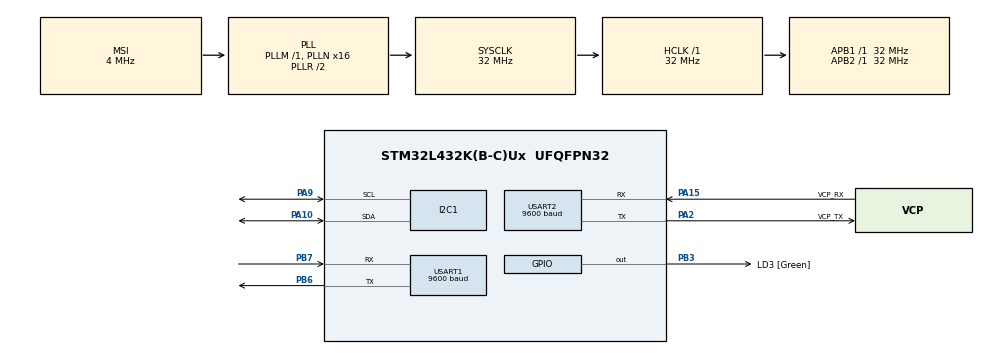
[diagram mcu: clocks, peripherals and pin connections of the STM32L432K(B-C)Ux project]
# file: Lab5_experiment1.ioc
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I2C1.Timing=0x00707CBB
Mcu.Family=STM32L4
Mcu.Name=STM32L432K(B-C)Ux
Mcu.Package=UFQFPN32
NVIC.PriorityGroup=NVIC_PRIORITYGROUP_4
NVIC.USART2_IRQn=true\:0\:0\:false\:false\:true\:true\:true\:true
PA0.GPIO_Label=MCO [High speed clock in]
PA0.Mode=HSE-External-Clock-Source-for-LittleOrca
PA0.Signal=RCC_CK_IN
PA10.Mode=I2C
PA10.Signal=I2C1_SDA
PA13\ (JTMS-SWDIO).GPIO_Label=SWDIO
PA13\ (JTMS-SWDIO).Mode=Serial_Wire
PA13\ (JTMS-SWDIO).Signal=SYS_JTMS-SWDIO
PA14\ (JTCK-SWCLK).GPIO_Label=SWCLK
PA14\ (JTCK-SWCLK).Mode=Serial_Wire
PA14\ (JTCK-SWCLK).Signal=SYS_JTCK-SWCLK
PA15\ (JTDI).GPIO_Label=VCP_RX
PA15\ (JTDI).Mode=Asynchronous
PA15\ (JTDI).Signal=USART2_RX
PA2.GPIO_Label=VCP_TX
PA2.Mode=Asynchronous
PA2.Signal=USART2_TX
PA9.Mode=I2C
PA9.Signal=I2C1_SCL
PB3\ (JTDO-TRACESWO).GPIO_Label=LD3 [Green]
PB3\ (JTDO-TRACESWO).Signal=GPIO_Output
PB6.Mode=Asynchronous
PB6.Signal=USART1_TX
PB7.Mode=Asynchronous
PB7.Signal=USART1_RX
PC14-OSC32_IN\ (PC14).Mode=LSE-External-Oscillator
PC14-OSC32_IN\ (PC14).Signal=RCC_OSC32_IN
PC15-OSC32_OUT\ (PC15).Mode=LSE-External-Oscillator
PC15-OSC32_OUT\ (PC15).Signal=RCC_OSC32_OUT
ProjectManager.HeapSize=0x200
ProjectManager.StackSize=0x400
ProjectManager.TargetToolchain=MDK-ARM V5.32
RCC.AHBFreq_Value=32000000
RCC.APB1Freq_Value=32000000
RCC.APB1TimFreq_Value=32000000
RCC.APB2Freq_Value=32000000
RCC.APB2TimFreq_Value=32000000
RCC.CortexFreq_Value=32000000
RCC.HCLKFreq_Value=32000000
RCC.HSE_VALUE=8000000
RCC.HSI16_VALUE=16000000
RCC.HSI48_VALUE=48000000
RCC.HSI_VALUE=16000000
RCC.MSI_VALUE=4000000
RCC.PLLMUL=RCC_PLLMUL_4
RCC.PLLN=16
RCC.SYSCLKFreq_VALUE=32000000
RCC.SYSCLKSource=RCC_SYSCLKSOURCE_PLLCLK
RCC.VCOOutputFreq_Value=64000000
USART1.BaudRate=9600
USART1.VirtualMode-Asynchronous=VM_ASYNC
USART2.BaudRate=9600
USART2.VirtualMode-Asynchronous=VM_ASYNC
board=NUCLEO-L432KC

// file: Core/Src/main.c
/* USER CODE BEGIN Header */
/**
  ******************************************************************************
  * @file           : main.c
  * @brief          : Main program body
  ******************************************************************************
  * @attention
  *
  * Copyright (c) 2024 STMicroelectronics.
  * All rights reserved.
  *
  * This software is licensed under terms that can be found in the LICENSE file
  * in the root directory of this software component.
  * If no LICENSE file comes with this software, it is provided AS-IS.
  *
  ******************************************************************************
  */
/* USER CODE END Header */
#include "main.h"

/* USER CODE BEGIN Includes */
#include "stdio.h"
#include <string.h>
#include <stdint.h>
#include <stdlib.h>
/* USER CODE END Includes */

/* USER CODE BEGIN PM */
int flag =0;
char userbuff[6] = {0};
int tempF;
uint8_t secbuffer[2], minbuffer[2], hourbuffer[2],alarmSecbuffer[2] = {0},alarmMinbuffer[2] = {0},alarmHourbuffer[2] = {0} ,checkbuffer[2],tempMbuffer[2],tempLbuffer[2];

/* USER CODE END PM */

I2C_HandleTypeDef hi2c1;

UART_HandleTypeDef huart1;
UART_HandleTypeDef huart2;

void SystemClock_Config(void);
static void MX_GPIO_Init(void);
static void MX_USART2_UART_Init(void);
static void MX_I2C1_Init(void);
static void MX_USART1_UART_Init(void);
/* USER CODE BEGIN PFP */
int8_t charToHex(char c1, char c2) {
	int8_t hex = 0;
  int8_t digit1 = c1 - '0';
  int8_t digit2 = c2 - '0';
  return (digit1 << 4) | digit2;
}
/* USER CODE END PFP */

int main(void)
{

  /* MCU Configuration--------------------------------------------------------*/

  /* Reset of all peripherals, Initializes the Flash interface and the Systick. */
  HAL_Init();

  /* Configure the system clock */
  SystemClock_Config();

  /* Initialize all configured peripherals */
  MX_GPIO_Init();
  MX_USART2_UART_Init();
  MX_I2C1_Init();
  MX_USART1_UART_Init();
  /* USER CODE BEGIN 2 */
if (HAL_I2C_IsDeviceReady(&hi2c1, 0xD0, 10, HAL_MAX_DELAY) == HAL_OK)
	{
		for (int i = 1; i<=10;i++) // indicator of ready device
		{
			HAL_GPIO_TogglePin(GPIOB, GPIO_PIN_3);
			HAL_Delay(250);
		}
	}

		//control based on temperature
		checkbuffer[0] = 0x0E;
		checkbuffer[1] = 0b00111100;
		HAL_I2C_Master_Transmit(&hi2c1, 0xD0, checkbuffer, 2, 10);

	secbuffer[0] = 0x00; //register address
	secbuffer[1] = 0x00; //data to put in register --> 35 sec

	HAL_I2C_Master_Transmit(&hi2c1, 0xD0, secbuffer, 2, 10);
	// minutes
	minbuffer[0] = 0x01; //register address
	minbuffer[1] = 0x46; //data to put in register --> 15 min
	HAL_I2C_Master_Transmit(&hi2c1, 0xD0, minbuffer, 2, 10);
	// hours

	hourbuffer[0] = 0x02; //register address
	hourbuffer[1] = 0x12; //data to put in register 01001001 --> 7 am

	tempMbuffer[0] = 0x11;
	tempLbuffer[0] = 0x12;

	HAL_I2C_Master_Transmit(&hi2c1, 0xD0, hourbuffer, 2, 10);
	//Receive via I2C and forward to UART
	uint8_t h1,h2,m1,m2,s1,s2, check;
	char uartBuf [100] = {0};
	char uartBufT [100] = {0};
  /* USER CODE END 2 */

  /* Infinite loop */
  /* USER CODE BEGIN WHILE */
		while (1)
  {
		//send seconds register address 00h to read from
		HAL_I2C_Master_Transmit(&hi2c1, 0xD0, secbuffer, 1, 10);
		//read data of register 00h to secbuffer[1]
		HAL_I2C_Master_Receive(&hi2c1, 0xD1, secbuffer+1, 1, 10);
		//prepare UART output
		s1 = secbuffer[1] >> 4;
		s2 = secbuffer[1] & 0x0F;
		HAL_I2C_Master_Transmit(&hi2c1, 0xD0, minbuffer, 1, 10);
		HAL_I2C_Master_Receive(&hi2c1, 0xD1, minbuffer+1, 1, 10);
		m1 = minbuffer[1] >> 4;
		m2 = minbuffer[1] & 0x0F;
		HAL_I2C_Master_Transmit(&hi2c1, 0xD0, hourbuffer, 1, 10);
		HAL_I2C_Master_Receive(&hi2c1, 0xD1, hourbuffer+1, 1, 10);

		h1 = (hourbuffer[1] >> 4) & 1;
		h2 = hourbuffer[1] & 0x0F;
		HAL_I2C_Master_Transmit(&hi2c1, 0xD0, tempMbuffer, 1, 10);
		HAL_I2C_Master_Receive(&hi2c1, 0xD1, tempMbuffer+1, 1, 10);

		HAL_I2C_Master_Transmit(&hi2c1, 0xD0, tempLbuffer, 1, 10);
		HAL_I2C_Master_Receive(&hi2c1, 0xD1, tempLbuffer+1, 1, 10);

		if((0b10000000&tempMbuffer[1]) != 0){
         tempMbuffer[1] = ~tempMbuffer[1]+1;
         tempMbuffer[1]*=-1;
     }
		tempF= ((tempLbuffer[1] >> 6) / 4.0) * 100;
		// transmit time and temperature to UART
		sprintf(uartBuf, "%d%d:%d%d:%d%d, Temp:%d.%d\r\n",h1,h2,m1,m2,s1,s2,tempMbuffer[1], tempF);
		HAL_UART_Transmit(&huart1, (uint8_t *)uartBuf, sizeof(uartBuf), 1000);
		HAL_Delay(1000);
    /* USER CODE END WHILE */

  }
}

void SystemClock_Config(void)
{
  RCC_OscInitTypeDef RCC_OscInitStruct = {0};
  RCC_ClkInitTypeDef RCC_ClkInitStruct = {0};

  /** Configure the main internal regulator output voltage
  */
  if (HAL_PWREx_ControlVoltageScaling(PWR_REGULATOR_VOLTAGE_SCALE1) != HAL_OK)
  {
    Error_Handler();
  }

  /** Configure LSE Drive Capability
  */
  HAL_PWR_EnableBkUpAccess();
  __HAL_RCC_LSEDRIVE_CONFIG(RCC_LSEDRIVE_LOW);

  /** Initializes the RCC Oscillators according to the specified parameters
  * in the RCC_OscInitTypeDef structure.
  */
  RCC_OscInitStruct.OscillatorType = RCC_OSCILLATORTYPE_LSE|RCC_OSCILLATORTYPE_MSI;
  RCC_OscInitStruct.LSEState = RCC_LSE_ON;
  RCC_OscInitStruct.MSIState = RCC_MSI_ON;
  RCC_OscInitStruct.MSICalibrationValue = 0;
  RCC_OscInitStruct.MSIClockRange = RCC_MSIRANGE_6;
  RCC_OscInitStruct.PLL.PLLState = RCC_PLL_ON;
  RCC_OscInitStruct.PLL.PLLSource = RCC_PLLSOURCE_MSI;
  RCC_OscInitStruct.PLL.PLLM = 1;
  RCC_OscInitStruct.PLL.PLLN = 16;
  RCC_OscInitStruct.PLL.PLLP = RCC_PLLP_DIV7;
  RCC_OscInitStruct.PLL.PLLQ = RCC_PLLQ_DIV2;
  RCC_OscInitStruct.PLL.PLLR = RCC_PLLR_DIV2;
  if (HAL_RCC_OscConfig(&RCC_OscInitStruct) != HAL_OK)
  {
    Error_Handler();
  }

  /** Initializes the CPU, AHB and APB buses clocks
  */
  RCC_ClkInitStruct.ClockType = RCC_CLOCKTYPE_HCLK|RCC_CLOCKTYPE_SYSCLK
                              |RCC_CLOCKTYPE_PCLK1|RCC_CLOCKTYPE_PCLK2;
  RCC_ClkInitStruct.SYSCLKSource = RCC_SYSCLKSOURCE_PLLCLK;
  RCC_ClkInitStruct.AHBCLKDivider = RCC_SYSCLK_DIV1;
  RCC_ClkInitStruct.APB1CLKDivider = RCC_HCLK_DIV1;
  RCC_ClkInitStruct.APB2CLKDivider = RCC_HCLK_DIV1;

  if (HAL_RCC_ClockConfig(&RCC_ClkInitStruct, FLASH_LATENCY_1) != HAL_OK)
  {
    Error_Handler();
  }

  /** Enable MSI Auto calibration
  */
  HAL_RCCEx_EnableMSIPLLMode();
}

static void MX_I2C1_Init(void)
{

  hi2c1.Instance = I2C1;
  hi2c1.Init.Timing = 0x00707CBB;
  hi2c1.Init.OwnAddress1 = 0;
  hi2c1.Init.AddressingMode = I2C_ADDRESSINGMODE_7BIT;
  hi2c1.Init.DualAddressMode = I2C_DUALADDRESS_DISABLE;
  hi2c1.Init.OwnAddress2 = 0;
  hi2c1.Init.OwnAddress2Masks = I2C_OA2_NOMASK;
  hi2c1.Init.GeneralCallMode = I2C_GENERALCALL_DISABLE;
  hi2c1.Init.NoStretchMode = I2C_NOSTRETCH_DISABLE;
  if (HAL_I2C_Init(&hi2c1) != HAL_OK)
  {
    Error_Handler();
  }

  /** Configure Analogue filter
  */
  if (HAL_I2CEx_ConfigAnalogFilter(&hi2c1, I2C_ANALOGFILTER_ENABLE) != HAL_OK)
  {
    Error_Handler();
  }

  /** Configure Digital filter
  */
  if (HAL_I2CEx_ConfigDigitalFilter(&hi2c1, 0) != HAL_OK)
  {
    Error_Handler();
  }

}

static void MX_USART1_UART_Init(void)
{

  huart1.Instance = USART1;
  huart1.Init.BaudRate = 9600;
  huart1.Init.WordLength = UART_WORDLENGTH_8B;
  huart1.Init.StopBits = UART_STOPBITS_1;
  huart1.Init.Parity = UART_PARITY_NONE;
  huart1.Init.Mode = UART_MODE_TX_RX;
  huart1.Init.HwFlowCtl = UART_HWCONTROL_NONE;
  huart1.Init.OverSampling = UART_OVERSAMPLING_16;
  huart1.Init.OneBitSampling = UART_ONE_BIT_SAMPLE_DISABLE;
  huart1.AdvancedInit.AdvFeatureInit = UART_ADVFEATURE_NO_INIT;
  if (HAL_UART_Init(&huart1) != HAL_OK)
  {
    Error_Handler();
  }

}

static void MX_USART2_UART_Init(void)
{

  huart2.Instance = USART2;
  huart2.Init.BaudRate = 9600;
  huart2.Init.WordLength = UART_WORDLENGTH_8B;
  huart2.Init.StopBits = UART_STOPBITS_1;
  huart2.Init.Parity = UART_PARITY_NONE;
  huart2.Init.Mode = UART_MODE_TX_RX;
  huart2.Init.HwFlowCtl = UART_HWCONTROL_NONE;
  huart2.Init.OverSampling = UART_OVERSAMPLING_16;
  huart2.Init.OneBitSampling = UART_ONE_BIT_SAMPLE_DISABLE;
  huart2.AdvancedInit.AdvFeatureInit = UART_ADVFEATURE_NO_INIT;
  if (HAL_UART_Init(&huart2) != HAL_OK)
  {
    Error_Handler();
  }

}

static void MX_GPIO_Init(void)
{
  GPIO_InitTypeDef GPIO_InitStruct = {0};

  /* GPIO Ports Clock Enable */
  __HAL_RCC_GPIOC_CLK_ENABLE();
  __HAL_RCC_GPIOA_CLK_ENABLE();
  __HAL_RCC_GPIOB_CLK_ENABLE();

  /*Configure GPIO pin Output Level */
  HAL_GPIO_WritePin(LD3_GPIO_Port, LD3_Pin, GPIO_PIN_RESET);

  /*Configure GPIO pin : LD3_Pin */
  GPIO_InitStruct.Pin = LD3_Pin;
  GPIO_InitStruct.Mode = GPIO_MODE_OUTPUT_PP;
  GPIO_InitStruct.Pull = GPIO_NOPULL;
  GPIO_InitStruct.Speed = GPIO_SPEED_FREQ_LOW;
  HAL_GPIO_Init(LD3_GPIO_Port, &GPIO_InitStruct);

}

void Error_Handler(void)
{
  __disable_irq();
  while (1)
  {
  }
}
